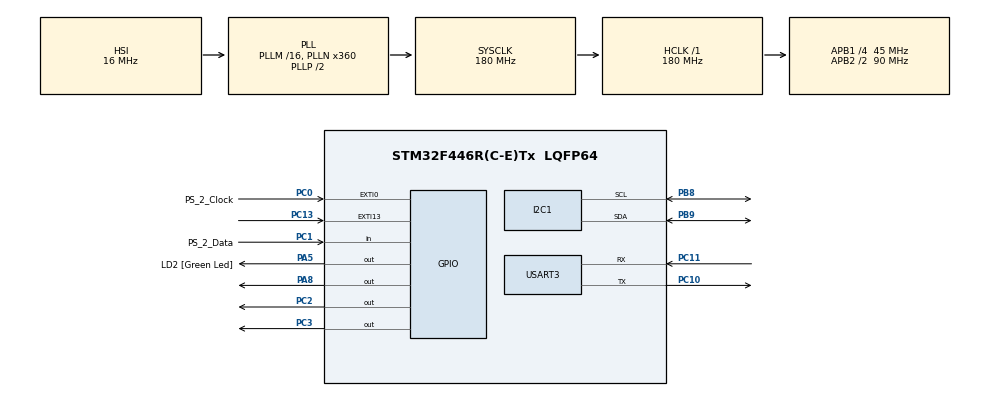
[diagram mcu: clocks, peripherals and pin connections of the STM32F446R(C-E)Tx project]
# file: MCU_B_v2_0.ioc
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FREERTOS.Tasks01=NFCTask,24,128,StartNFCTask,Default,NULL,Dynamic,NULL,NULL;PS2Task,8,128,StartPS2Task,Default,NULL,Dynamic,NULL,NULL;UARTTask,8,128,StartUARTTask,Default,NULL,Dynamic,NULL,NULL;HEARTBEATTask,24,128,StartHeartbeatTask,Default,NULL,Dynamic,NULL,NULL
Mcu.Family=STM32F4
Mcu.Name=STM32F446R(C-E)Tx
Mcu.Package=LQFP64
NVIC.EXTI0_IRQn=true\:5\:0\:false\:false\:true\:true\:true\:true\:true
NVIC.EXTI15_10_IRQn=true\:5\:0\:false\:false\:true\:true\:true\:true\:true
NVIC.PriorityGroup=NVIC_PRIORITYGROUP_4
NVIC.TIM6_DAC_IRQn=true\:15\:0\:false\:false\:true\:false\:false\:true\:true
NVIC.TimeBase=TIM6_DAC_IRQn
NVIC.TimeBaseIP=TIM6
NVIC.USART3_IRQn=true\:5\:0\:false\:false\:true\:true\:true\:true\:true
PA13.GPIO_Label=TMS
PA13.Signal=SYS_JTMS-SWDIO
PA14.GPIO_Label=TCK
PA14.Signal=SYS_JTCK-SWCLK
PA2.GPIO_Label=USART_TX
PA2.Signal=USART2_TX
PA3.GPIO_Label=USART_RX
PA3.Signal=USART2_RX
PA5.GPIO_Label=LD2 [Green Led]
PA5.Signal=GPIO_Output
PA8.Signal=GPIO_Output
PB3.GPIO_Label=SWO
PB3.Signal=SYS_JTDO-SWO
PB8.GPIO_Pu=GPIO_PULLUP
PB8.Mode=I2C
PB8.Signal=I2C1_SCL
PB9.GPIO_Pu=GPIO_PULLUP
PB9.Mode=I2C
PB9.Signal=I2C1_SDA
PC0.GPIO_Label=PS_2_Clock
PC0.GPIO_ModeDefaultEXTI=GPIO_MODE_IT_FALLING
PC0.Signal=GPXTI0
PC1.GPIO_Label=PS_2_Data
PC1.Signal=GPIO_Input
PC10.Mode=Asynchronous
PC10.Signal=USART3_TX
PC11.Mode=Asynchronous
PC11.Signal=USART3_RX
PC13.GPIO_ModeDefaultEXTI=GPIO_MODE_IT_FALLING
PC13.GPIO_PuPd=GPIO_PULLUP
PC13.Signal=GPXTI13
PC14-OSC32_IN.Signal=RCC_OSC32_IN
PC15-OSC32_OUT.Signal=RCC_OSC32_OUT
PC2.GPIO_PuPd=GPIO_NOPULL
PC2.Signal=GPIO_Output
PC3.GPIO_PuPd=GPIO_PULLDOWN
PC3.Signal=GPIO_Output
PH0-OSC_IN.Signal=RCC_OSC_IN
PH1-OSC_OUT.Signal=RCC_OSC_OUT
ProjectManager.HeapSize=0x200
ProjectManager.StackSize=0x400
ProjectManager.TargetToolchain=STM32CubeIDE
RCC.AHBFreq_Value=180000000
RCC.APB1CLKDivider=RCC_HCLK_DIV4
RCC.APB1Freq_Value=45000000
RCC.APB1TimFreq_Value=90000000
RCC.APB2CLKDivider=RCC_HCLK_DIV2
RCC.APB2Freq_Value=90000000
RCC.APB2TimFreq_Value=180000000
RCC.CortexFreq_Value=180000000
RCC.FLatency-AdvancedSettings=FLASH_LATENCY_5
RCC.HCLKFreq_Value=180000000
RCC.HSE_VALUE=8000000
RCC.HSI_VALUE=16000000
RCC.LSE_VALUE=32768
RCC.PLLN=360
RCC.SYSCLKFreq_VALUE=180000000
RCC.SYSCLKSource=RCC_SYSCLKSOURCE_PLLCLK
RCC.USBFreq_Value=180000000
RCC.VCOOutputFreq_Value=360000000
USART3.VirtualMode=VM_ASYNC
VP_FREERTOS_VS_CMSIS_V2.Mode=CMSIS_V2
VP_MBEDTLS_VS_MBEDTLS.Mode=Enabled
VP_SYS_VS_tim6.Mode=TIM6
board=NUCLEO-F446RE

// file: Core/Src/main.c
/* USER CODE BEGIN Header */
/**
  ******************************************************************************
  * @file           : main.c
  * @brief          : Main program body
  ******************************************************************************
  * @attention
  *
  * Copyright (c) 2026 STMicroelectronics.
  * All rights reserved.
  *
  * This software is licensed under terms that can be found in the LICENSE file
  * in the root directory of this software component.
  * If no LICENSE file comes with this software, it is provided AS-IS.
  *
  ******************************************************************************
  */
/* USER CODE END Header */
#include "main.h"
#include "cmsis_os.h"
#include "mbedtls.h"

/* USER CODE BEGIN Includes */
#include "nfc2.h"
#include "ps2.h"
#include "latch.h"
#include "name_roster.h"
#include "sender.h"
/* USER CODE END Includes */

I2C_HandleTypeDef hi2c1;

UART_HandleTypeDef huart3;

/* Definitions for NFCTask */
osThreadId_t NFCTaskHandle;
const osThreadAttr_t NFCTask_attributes = {
  .name = "NFCTask",
  .stack_size = 128 * 4,
  .priority = (osPriority_t) osPriorityNormal,
};
/* Definitions for PS2Task */
osThreadId_t PS2TaskHandle;
const osThreadAttr_t PS2Task_attributes = {
  .name = "PS2Task",
  .stack_size = 128 * 4,
  .priority = (osPriority_t) osPriorityLow,
};
/* Definitions for UARTTask */
osThreadId_t UARTTaskHandle;
const osThreadAttr_t UARTTask_attributes = {
  .name = "UARTTask",
  .stack_size = 128 * 4,
  .priority = (osPriority_t) osPriorityLow,
};
/* Definitions for HEARTBEATTask */
osThreadId_t HEARTBEATTaskHandle;
const osThreadAttr_t HEARTBEATTask_attributes = {
  .name = "HEARTBEATTask",
  .stack_size = 128 * 4,
  .priority = (osPriority_t) osPriorityNormal,
};

void SystemClock_Config(void);
static void MX_GPIO_Init(void);
static void MX_I2C1_Init(void);
static void MX_USART3_UART_Init(void);
void StartNFCTask(void *argument);
void StartPS2Task(void *argument);
void StartUARTTask(void *argument);
void StartHeartbeatTask(void *argument);

/* USER CODE BEGIN 0 */
static uint8_t ps2_byte_message[PS2_MESSAGE_MAX];
char decoded_string[PS2_MESSAGE_MAX];
uint16_t decoded_length = 0;
static uint16_t ps2_byte_message_length = 0;
/* USER CODE END 0 */

int main(void)
{

  /* MCU Configuration--------------------------------------------------------*/

  /* Reset of all peripherals, Initializes the Flash interface and the Systick. */
  HAL_Init();

  /* Configure the system clock */
  SystemClock_Config();

  /* Initialize all configured peripherals */
  MX_GPIO_Init();
  MX_I2C1_Init();
  MX_USART3_UART_Init();
  /* Call PreOsInit function */
  MX_MBEDTLS_Init();
  /* USER CODE BEGIN 2 */
  PS2_Init();
  UART_Init();
  /* USER CODE END 2 */

  /* Init scheduler */
  osKernelInitialize();

  /* Create the thread(s) */
  /* creation of NFCTask */
  NFCTaskHandle = osThreadNew(StartNFCTask, NULL, &NFCTask_attributes);

  /* creation of PS2Task */
  PS2TaskHandle = osThreadNew(StartPS2Task, NULL, &PS2Task_attributes);

  /* creation of UARTTask */
  UARTTaskHandle = osThreadNew(StartUARTTask, NULL, &UARTTask_attributes);

  /* creation of HEARTBEATTask */
  HEARTBEATTaskHandle = osThreadNew(StartHeartbeatTask, NULL, &HEARTBEATTask_attributes);

  /* Start scheduler */
  osKernelStart();

  /* We should never get here as control is now taken by the scheduler */

  /* Infinite loop */
  while (1)
  {

  }
}

void SystemClock_Config(void)
{
  RCC_OscInitTypeDef RCC_OscInitStruct = {0};
  RCC_ClkInitTypeDef RCC_ClkInitStruct = {0};

  /** Configure the main internal regulator output voltage
  */
  __HAL_RCC_PWR_CLK_ENABLE();
  __HAL_PWR_VOLTAGESCALING_CONFIG(PWR_REGULATOR_VOLTAGE_SCALE1);

  /** Initializes the RCC Oscillators according to the specified parameters
  * in the RCC_OscInitTypeDef structure.
  */
  RCC_OscInitStruct.OscillatorType = RCC_OSCILLATORTYPE_HSI;
  RCC_OscInitStruct.HSIState = RCC_HSI_ON;
  RCC_OscInitStruct.HSICalibrationValue = RCC_HSICALIBRATION_DEFAULT;
  RCC_OscInitStruct.PLL.PLLState = RCC_PLL_ON;
  RCC_OscInitStruct.PLL.PLLSource = RCC_PLLSOURCE_HSI;
  RCC_OscInitStruct.PLL.PLLM = 16;
  RCC_OscInitStruct.PLL.PLLN = 360;
  RCC_OscInitStruct.PLL.PLLP = RCC_PLLP_DIV2;
  RCC_OscInitStruct.PLL.PLLQ = 2;
  RCC_OscInitStruct.PLL.PLLR = 2;
  if (HAL_RCC_OscConfig(&RCC_OscInitStruct) != HAL_OK)
  {
    Error_Handler();
  }

  /** Activate the Over-Drive mode
  */
  if (HAL_PWREx_EnableOverDrive() != HAL_OK)
  {
    Error_Handler();
  }

  /** Initializes the CPU, AHB and APB buses clocks
  */
  RCC_ClkInitStruct.ClockType = RCC_CLOCKTYPE_HCLK|RCC_CLOCKTYPE_SYSCLK
                              |RCC_CLOCKTYPE_PCLK1|RCC_CLOCKTYPE_PCLK2;
  RCC_ClkInitStruct.SYSCLKSource = RCC_SYSCLKSOURCE_PLLCLK;
  RCC_ClkInitStruct.AHBCLKDivider = RCC_SYSCLK_DIV1;
  RCC_ClkInitStruct.APB1CLKDivider = RCC_HCLK_DIV4;
  RCC_ClkInitStruct.APB2CLKDivider = RCC_HCLK_DIV2;

  if (HAL_RCC_ClockConfig(&RCC_ClkInitStruct, FLASH_LATENCY_5) != HAL_OK)
  {
    Error_Handler();
  }
}

static void MX_I2C1_Init(void)
{

  hi2c1.Instance = I2C1;
  hi2c1.Init.ClockSpeed = 100000;
  hi2c1.Init.DutyCycle = I2C_DUTYCYCLE_2;
  hi2c1.Init.OwnAddress1 = 0;
  hi2c1.Init.AddressingMode = I2C_ADDRESSINGMODE_7BIT;
  hi2c1.Init.DualAddressMode = I2C_DUALADDRESS_DISABLE;
  hi2c1.Init.OwnAddress2 = 0;
  hi2c1.Init.GeneralCallMode = I2C_GENERALCALL_DISABLE;
  hi2c1.Init.NoStretchMode = I2C_NOSTRETCH_DISABLE;
  if (HAL_I2C_Init(&hi2c1) != HAL_OK)
  {
    Error_Handler();
  }

}

static void MX_USART3_UART_Init(void)
{

  huart3.Instance = USART3;
  huart3.Init.BaudRate = 115200;
  huart3.Init.WordLength = UART_WORDLENGTH_8B;
  huart3.Init.StopBits = UART_STOPBITS_1;
  huart3.Init.Parity = UART_PARITY_NONE;
  huart3.Init.Mode = UART_MODE_TX_RX;
  huart3.Init.HwFlowCtl = UART_HWCONTROL_NONE;
  huart3.Init.OverSampling = UART_OVERSAMPLING_16;
  if (HAL_UART_Init(&huart3) != HAL_OK)
  {
    Error_Handler();
  }

}

static void MX_GPIO_Init(void)
{
  GPIO_InitTypeDef GPIO_InitStruct = {0};

  /* GPIO Ports Clock Enable */
  __HAL_RCC_GPIOC_CLK_ENABLE();
  __HAL_RCC_GPIOH_CLK_ENABLE();
  __HAL_RCC_GPIOA_CLK_ENABLE();
  __HAL_RCC_GPIOB_CLK_ENABLE();

  /*Configure GPIO pin Output Level */
  HAL_GPIO_WritePin(GPIOC, GPIO_PIN_2|GPIO_PIN_3, GPIO_PIN_RESET);

  /*Configure GPIO pin Output Level */
  HAL_GPIO_WritePin(GPIOA, LD2_Pin|GPIO_PIN_8, GPIO_PIN_RESET);

  /*Configure GPIO pin : PC13 */
  GPIO_InitStruct.Pin = GPIO_PIN_13;
  GPIO_InitStruct.Mode = GPIO_MODE_IT_FALLING;
  GPIO_InitStruct.Pull = GPIO_PULLUP;
  HAL_GPIO_Init(GPIOC, &GPIO_InitStruct);

  /*Configure GPIO pin : PS_2_Clock_Pin */
  GPIO_InitStruct.Pin = PS_2_Clock_Pin;
  GPIO_InitStruct.Mode = GPIO_MODE_IT_FALLING;
  GPIO_InitStruct.Pull = GPIO_NOPULL;
  HAL_GPIO_Init(PS_2_Clock_GPIO_Port, &GPIO_InitStruct);

  /*Configure GPIO pin : PS_2_Data_Pin */
  GPIO_InitStruct.Pin = PS_2_Data_Pin;
  GPIO_InitStruct.Mode = GPIO_MODE_INPUT;
  GPIO_InitStruct.Pull = GPIO_NOPULL;
  HAL_GPIO_Init(PS_2_Data_GPIO_Port, &GPIO_InitStruct);

  /*Configure GPIO pin : PC2 */
  GPIO_InitStruct.Pin = GPIO_PIN_2;
  GPIO_InitStruct.Mode = GPIO_MODE_OUTPUT_PP;
  GPIO_InitStruct.Pull = GPIO_NOPULL;
  GPIO_InitStruct.Speed = GPIO_SPEED_FREQ_LOW;
  HAL_GPIO_Init(GPIOC, &GPIO_InitStruct);

  /*Configure GPIO pin : PC3 */
  GPIO_InitStruct.Pin = GPIO_PIN_3;
  GPIO_InitStruct.Mode = GPIO_MODE_OUTPUT_PP;
  GPIO_InitStruct.Pull = GPIO_PULLDOWN;
  GPIO_InitStruct.Speed = GPIO_SPEED_FREQ_LOW;
  HAL_GPIO_Init(GPIOC, &GPIO_InitStruct);

  /*Configure GPIO pins : USART_TX_Pin USART_RX_Pin */
  GPIO_InitStruct.Pin = USART_TX_Pin|USART_RX_Pin;
  GPIO_InitStruct.Mode = GPIO_MODE_AF_PP;
  GPIO_InitStruct.Pull = GPIO_NOPULL;
  GPIO_InitStruct.Speed = GPIO_SPEED_FREQ_VERY_HIGH;
  GPIO_InitStruct.Alternate = GPIO_AF7_USART2;
  HAL_GPIO_Init(GPIOA, &GPIO_InitStruct);

  /*Configure GPIO pins : LD2_Pin PA8 */
  GPIO_InitStruct.Pin = LD2_Pin|GPIO_PIN_8;
  GPIO_InitStruct.Mode = GPIO_MODE_OUTPUT_PP;
  GPIO_InitStruct.Pull = GPIO_NOPULL;
  GPIO_InitStruct.Speed = GPIO_SPEED_FREQ_LOW;
  HAL_GPIO_Init(GPIOA, &GPIO_InitStruct);

  /* EXTI interrupt init*/
  HAL_NVIC_SetPriority(EXTI0_IRQn, 5, 0);
  HAL_NVIC_EnableIRQ(EXTI0_IRQn);

  HAL_NVIC_SetPriority(EXTI15_10_IRQn, 5, 0);
  HAL_NVIC_EnableIRQ(EXTI15_10_IRQn);

}

/* USER CODE BEGIN 4 */
void HAL_GPIO_EXTI_Callback(uint16_t GPIO_Pin)
{
  if(GPIO_Pin == GPIO_PIN_13)
  {
    NFC_IrqFromISR();
  }

  if(GPIO_Pin == PS_2_Clock_Pin)
  {
    PS2_CheckTimeout();
    if(PS2_Inited())
    {
      PS2_ClockEdgeFromIsr();
    }
  }
}
/* USER CODE END 4 */

void StartNFCTask(void *argument)
{
  /* USER CODE BEGIN 5 */
  /* USER CODE BEGIN NFCTask */
  /* Infinite loop */
  if(!NFC_Init())
  {
      for(;;)
      {
          vTaskDelay(pdMS_TO_TICKS(1000));
      }
  }
  uint8_t uid[10];
  uint8_t uid_len;

  for (;;)
  {
    NFC_Result_t r = NFC_ReadUID(uid, &uid_len, 500);

    if(r == NFC_OK)
    {
      if(is_valid_token(uid, uid_len))
      {
    	  // accepted token, send message over UART to MCU A

        UART_SendMessage("TOKEN_VALID");
        HAL_GPIO_TogglePin(GPIOA, GPIO_PIN_5);
      }
      else
      {
        UART_SendMessage("TOKEN_INVLD");
      }
      LATCH_Open(tokendrop); // let the token pass regardless of validity
      HAL_I2C_DeInit(&hi2c1);
      osDelay(10);
      HAL_I2C_Init(&hi2c1);
      osDelay(10);
      NFC_Init();
    }
    else if(r == NFC_NO_CARD)
    {
      vTaskDelay(pdMS_TO_TICKS(20));
    }
    else if(r == NFC_TIMEOUT)
    {
      vTaskDelay(pdMS_TO_TICKS(20));
    }
    else
    {
      vTaskDelay(pdMS_TO_TICKS(50));
    }
  }
  /* USER CODE END NFCTask */
  /* USER CODE END 5 */
}

void StartPS2Task(void *argument)
{
  /* USER CODE BEGIN StartPS2Task */
  /* Infinite loop */
  for(;;)
  {
    PS2_CheckMessageTimeout();
    if (PS2_MessageReady())
    {
    	//NEW April 10
      decoded_length = 0;
      memset(decoded_string, 0, sizeof(decoded_string));

      // function returns how many bytes were copied over
      ps2_byte_message_length = PS2_GetMessage(ps2_byte_message, PS2_MESSAGE_MAX);

      for (uint16_t i = 0; i < ps2_byte_message_length; ++i)
      {
        uint8_t ch = PS2_ScanCodeToAscii(ps2_byte_message[i]);
        if (ch != 0x00)
        {
          decoded_string[decoded_length] = ch;
          decoded_length++;
        }
      }
      decoded_string[decoded_length] = '\0'; // null terminate
      char message_for_LCD[16];
      int auth_number = auth(decoded_string, message_for_LCD);
      char message_to_send[32];
      memset(message_to_send, 0, sizeof(message_to_send));
      strcat(message_to_send, "MC:");
      strcat(message_to_send, message_for_LCD);
      char level_number = '0';
      level_number += auth_number;
      message_to_send[30] = level_number;
      message_to_send[31] = '\0';
      UART_SendMessage(message_to_send);
      if (auth_number == 2)
      {
        osDelay(1000);
        LATCH_Open(door);
      }
      osDelay(1000);
    }
    osDelay(1);
  }
  /* USER CODE END StartPS2Task */
}

void StartUARTTask(void *argument)
{
  /* USER CODE BEGIN StartUARTTask */
  /* Infinite loop */
  for(;;)
  {
    osDelay(10000);
  }
  /* USER CODE END StartUARTTask */
}

void StartHeartbeatTask(void *argument)
{
  /* USER CODE BEGIN StartHeartbeatTask */
  /* Infinite loop */
  for(;;)
  {
	  HAL_GPIO_TogglePin(GPIOA, GPIO_PIN_5);
    osDelay(1000);
  }
  /* USER CODE END StartHeartbeatTask */
}

void HAL_TIM_PeriodElapsedCallback(TIM_HandleTypeDef *htim)
{
  if (htim->Instance == TIM6)
  {
    HAL_IncTick();
  }
}

void Error_Handler(void)
{
  __disable_irq();
  while (1)
  {
  }
}
